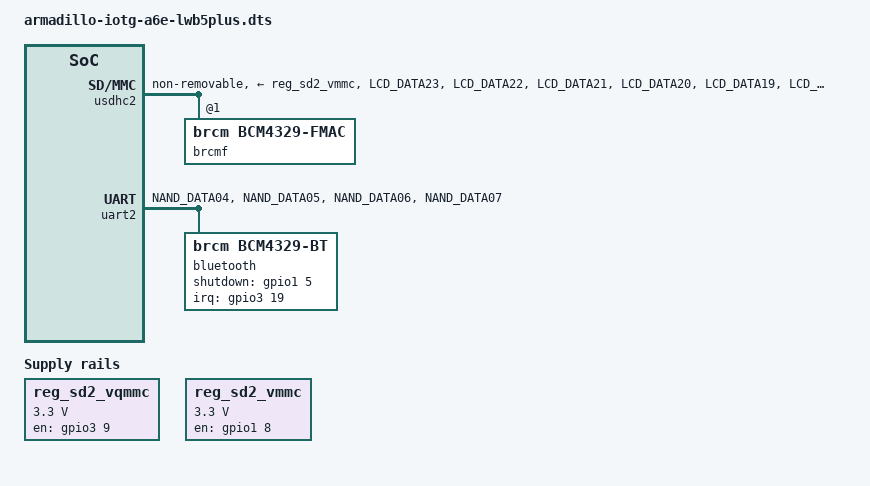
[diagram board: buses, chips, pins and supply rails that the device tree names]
// SPDX-License-Identifier: (GPL-2.0 OR MIT)
/*
 * Copyright (C) 2022 Atmark Techno, Inc. All Rights Reserved.
 */

/dts-v1/;
/plugin/;

#include <dt-bindings/gpio/gpio.h>
#include "imx6ull-pinfunc.h"
#include "imx6ull-pinfunc-snvs.h"
#include <dt-bindings/interrupt-controller/irq.h>
#include <dt-bindings/clock/imx6ul-clock.h>

&{/} {
	reg_sd2_vqmmc: regulator-sd2vqmmc {
		pinctrl-names = "default";
		pinctrl-0 = <&pinctrl_sd2_vqmmc>;
		compatible = "regulator-fixed";
		regulator-name = "VDDIO_SD2";
		regulator-min-microvolt = <3300000>;
		regulator-max-microvolt = <3300000>;
		gpio = <&gpio3 9 GPIO_ACTIVE_HIGH>;
		enable-active-high;
		regulator-boot-on;
	};

	reg_sd2_vmmc: regulator-sd2vmmc {
		pinctrl-names = "default";
		pinctrl-0 = <&pinctrl_sd2_vmmc>;
		compatible = "regulator-fixed";
		regulator-name = "VDD_SD2";
		regulator-min-microvolt = <3300000>;
		regulator-max-microvolt = <3300000>;
		gpio = <&gpio1 8 GPIO_ACTIVE_HIGH>;
		enable-active-high;
		regulator-boot-on;
	};
};

&iomuxc {
	pinctrl_usdhc2: usdhc2grp {
		fsl,pins = <
			MX6UL_PAD_LCD_DATA23__USDHC2_DATA3	0x10059
			MX6UL_PAD_LCD_DATA22__USDHC2_DATA2	0x10059
			MX6UL_PAD_LCD_DATA21__USDHC2_DATA1	0x10059
			MX6UL_PAD_LCD_DATA20__USDHC2_DATA0	0x10059
			MX6UL_PAD_LCD_DATA19__USDHC2_CLK	0x10051
			MX6UL_PAD_LCD_DATA18__USDHC2_CMD	0x10059
		>;
	};

	pinctrl_sd2_vqmmc: sd2vqmmcgrp {
		fsl,pins = <
			MX6UL_PAD_LCD_DATA04__GPIO3_IO09	0x00008 /* LWB5+ VDD_IO */
		>;
	};

	pinctrl_sd2_vmmc: sd2vmmcgrp {
		fsl,pins = <
			MX6UL_PAD_GPIO1_IO08__GPIO1_IO08	0x00008 /* LWB5+ WL_REG_ON */
		>;
	};

	pinctrl_uart2: uart2grp {
		fsl,pins= <
			MX6UL_PAD_NAND_DATA04__UART2_DCE_TX	0x00008 /* LWB5+ BT_UART_TXD */
			MX6UL_PAD_NAND_DATA05__UART2_DCE_RX	0x1b0b1 /* LWB5+ BT_UART_RXD */
			MX6UL_PAD_NAND_DATA06__UART2_DCE_CTS	0x00008 /* LWB5+ BT_UART_CTSn */
			MX6UL_PAD_NAND_DATA07__UART2_DCE_RTS	0x1b0b1 /* LWB5+ BT_UART_RTSn */
		>;
	};

	pinctrl_brcm_bluetooth: brcm_bluetoothgrp {
		fsl,pins = <
			MX6UL_PAD_GPIO1_IO05__GPIO1_IO05	0x00008 /* LWB5+ BT_REG_ON */
			MX6UL_PAD_LCD_DATA14__GPIO3_IO19	0x1b0b8 /* LWB5+ BT_HOST_WAKE */
		>;
	};
};

&usdhc2 {
	assigned-clocks = <&clks IMX6UL_CLK_USDHC2_SEL>, <&clks IMX6UL_CLK_USDHC2>;
	assigned-clock-parents = <&clks IMX6UL_CLK_PLL2_PFD2>;
	assigned-clock-rates = <0>, <198000000>;

	pinctrl-names = "default";
	pinctrl-0 = <&pinctrl_usdhc2>;
	vqmmc-supply = <&reg_sd2_vqmmc>;
	vmmc-supply = <&reg_sd2_vmmc>;
	fsl,vqmmc-disable-on-shutdown;
	broken-cd;
	no-1-8-v;
	non-removable;
	keep-power-in-suspend;
	wakeup-source;
	status = "okay";

	#address-cells = <1>;
	#size-cells = <0>;
	brcmf: wifi@1 {
		reg = <1>;
		compatible = "brcm,bcm4329-fmac";
		brcm,board-type = "atmark,armadillo";
		brcm,ccode-map = "JP-JP-0";
	};
};

/* LWB5+(WLAN+BT) Bluetooth */
&uart2 {
	pinctrl-names = "default";
	pinctrl-0 = <&pinctrl_uart2>;
	status = "okay";
	uart-has-rtscts;

	bluetooth {
		compatible = "brcm,bcm4329-bt";
		pinctrl-names = "default";
		pinctrl-0 = <&pinctrl_brcm_bluetooth>;
		/* The max baud rate for LWB5+ is 3Mbps. */
		max-speed = <3000000>;
		shutdown-gpios = <&gpio1 5 GPIO_ACTIVE_HIGH>;
		interrupt-parent = <&gpio3>;
		interrupts = <19 IRQ_TYPE_LEVEL_HIGH>;
		interrupt-names = "host-wake";

	};
};
